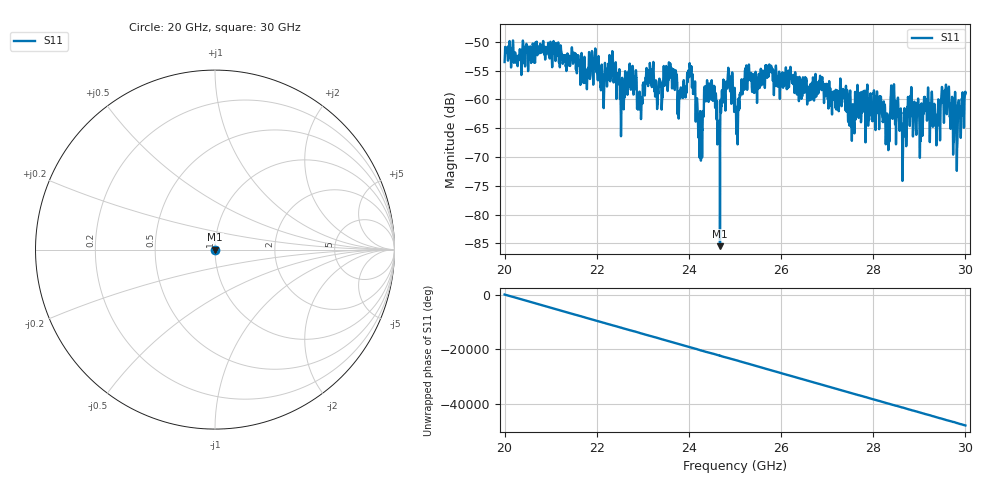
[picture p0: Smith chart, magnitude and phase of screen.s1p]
#  HZ  S  RI  R  50.00
! Rohde & Schwarz ZVA40 4Ports - Version 3.90 - 1145.1110k42 SN: 100403
! Date: 2023-10-03 12:09:00
! Measurement: S12
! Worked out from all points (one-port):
!   5001 points, 20 GHz to 30 GHz, reference 50 ohm
!   lowest |S11| = -85.5 dB at 24.67 GHz (marker M1), VSWR 1.00, Z = 50 - j0.00373 ohm
!   |S11| at or under -10 dB: start of sweep to end of sweep
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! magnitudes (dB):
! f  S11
! 20 GHz  -53.5
! 21.25 GHz  -52.9
! 21.99 GHz  -55.3
! 22.12 GHz  -57.0
! 22.37 GHz  -56.6
! 22.5 GHz  -58.2
! 22.74 GHz  -58.1
! 22.92 GHz  -59.3
! 23.61 GHz  -55.4
! 23.75 GHz  -58.5
! 24.03 GHz  -55.7
! 24.25 GHz  -62.2
! 24.4 GHz  -58.9
! 24.67 GHz  -85.5
! 24.85 GHz  -54.5
! 25 GHz  -59.5
! 25.26 GHz  -56.5
! 26.25 GHz  -56.3
! 27.5 GHz  -58.5
! 28.04 GHz  -63.0
! 28.31 GHz  -63.2
! 28.42 GHz  -63.4
! 28.67 GHz  -62.7
! 28.75 GHz  -60.7
! 29.41 GHz  -61.2
! 29.6 GHz  -62.2
! 29.78 GHz  -59.1
! 30 GHz  -58.8
